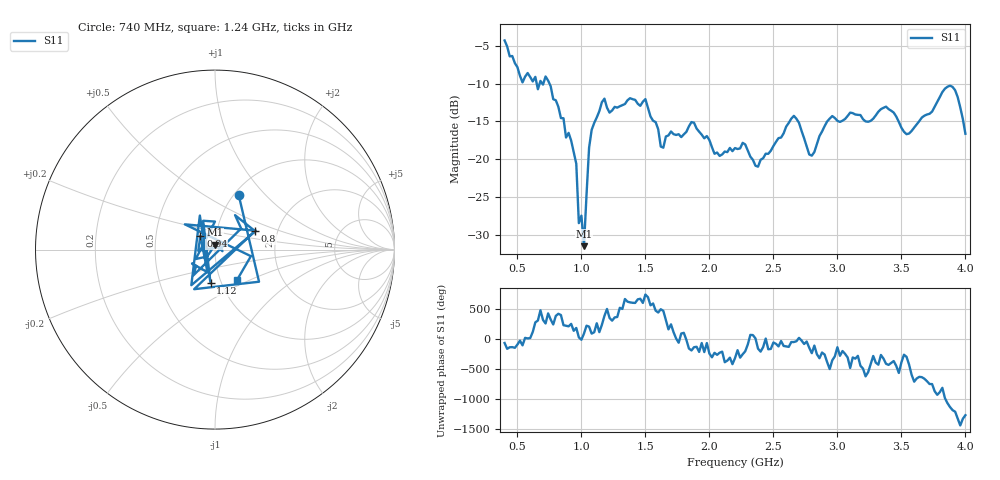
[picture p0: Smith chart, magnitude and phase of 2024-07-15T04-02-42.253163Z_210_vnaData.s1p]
!Created with skrf (http://scikit-rf.org).
# Hz S RI R 50.0
!freq ReS11 ImS11
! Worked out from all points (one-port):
!   181 points, 400 MHz to 4 GHz, reference 50 ohm
!   lowest |S11| = -31.5 dB at 1.02 GHz (marker M1), VSWR 1.05, Z = 50 + j2.67 ohm
!   |S11| at or under -10 dB: 650.8 MHz to 673.6 MHz (22.78 MHz wide, 3.44 % of centre); 694.4 MHz to 702.5 MHz (8.088 MHz wide, 1.16 % of centre); 750.5 MHz to end of sweep
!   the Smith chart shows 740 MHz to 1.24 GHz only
!   S11 on the Smith chart (normalised r, x): 740 MHz: 1.05, +0.72; 800 MHz: 1.53, +0.34; 940 MHz: 0.84, +0.13; 1.12 GHz: 0.89, -0.35; 1.24 GHz: 1.19, -0.43
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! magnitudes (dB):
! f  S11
! 400 MHz  -4.3
! 540 MHz  -9.8
! 740 MHz  -9.6
! 800 MHz  -12.2
! 860 MHz  -14.6
! 940 MHz  -19.0
! 960 MHz  -20.6
! 980 MHz  -28.4
! 1 GHz  -27.4
! 1.02 GHz  -31.5
! 1.06 GHz  -18.5
! 1.12 GHz  -14.5
! 1.24 GHz  -13.5
! 1.3 GHz  -13.0
! 1.5 GHz  -12.0
! 1.62 GHz  -18.3
! 1.76 GHz  -16.7
! 1.86 GHz  -15.1
! 2.2 GHz  -18.5
! 2.38 GHz  -21.0
! 2.66 GHz  -14.3
! 2.8 GHz  -19.5
! 2.92 GHz  -15.0
! 3.1 GHz  -13.8
! 3.38 GHz  -13.0
! 3.56 GHz  -16.6
! 3.88 GHz  -10.3
! 4 GHz  -16.6
